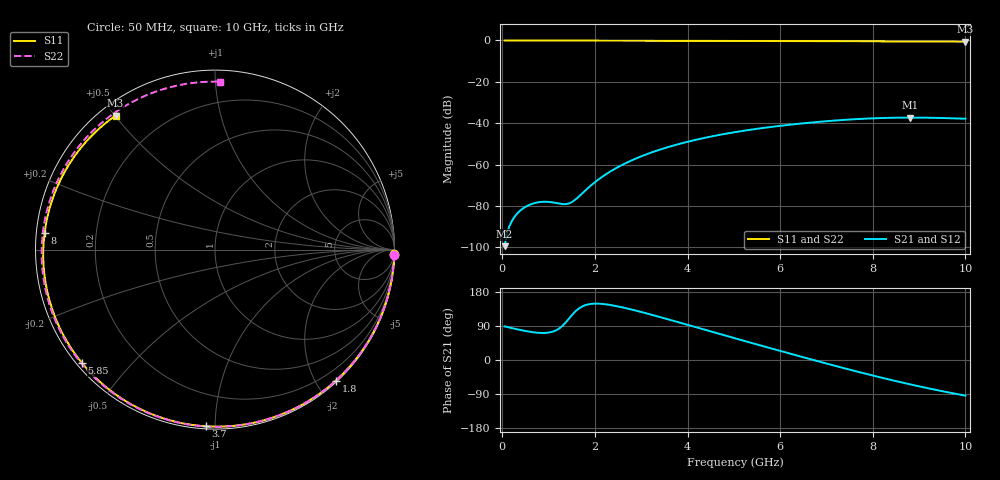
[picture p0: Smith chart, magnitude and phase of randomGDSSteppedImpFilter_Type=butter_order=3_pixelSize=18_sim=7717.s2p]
! freq	dB(S11)	phase(S11)	dB(S12)	phase(S12)
!  dB(S21)	phase(S21)	dB(S22)	phase(S22)
!S-par simulation data
#  GHz  S  DB  R 50
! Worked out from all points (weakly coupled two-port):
!   200 points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, 50 MHz to 10 GHz, reference 50 ohm
!   highest |S21| = -37.29 dB at 8.8 GHz (marker M1); lowest = -99.5 dB at 50 MHz (marker M2)
!   lowest |S11| = -0.6 dB at 10 GHz (marker M3), VSWR 27.48, Z = 2.28 + j25.1 ohm
!   |S11| at or under -10 dB: nowhere
!   |S22| runs from -0.6 to 0.0 dB; largest |S21 - S12| = 0
!   S11 on the Smith chart (normalised r, x): 50 MHz: 0, -85; 1.8 GHz: 0.02, -2.28; 3.7 GHz: 0.01, -0.95; 5.85 GHz: 0.02, -0.37; 8 GHz: 0.02, +0.05; 10 GHz: 0.05, +0.50
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0.05  -0.00 -1.4  -99.46 88.6  -99.46 88.6  -0.00 -1.6
0.5  -0.02 -13.4  -80.47 76.5  -80.47 76.5  -0.02 -16.2
0.9  -0.03 -24.0  -77.98 71.4  -77.98 71.4  -0.04 -28.9
1.4  -0.05 -37.0  -79.03 103.3  -79.03 103.3  -0.06 -44.5
1.55  -0.05 -40.9  -77.42 124.7  -77.42 124.7  -0.06 -49.1
1.75  -0.06 -46.0  -73.44 142.7  -73.44 142.7  -0.07 -55.1
1.8  -0.06 -47.3  -72.40 145.0  -72.40 145.0  -0.07 -56.6
2.15  -0.07 -56.1  -66.02 148.1  -66.02 148.1  -0.08 -67.0
2.5  -0.08 -64.7  -61.20 141.4  -61.20 141.4  -0.10 -77.0
2.9  -0.09 -74.3  -56.94 129.9  -56.94 129.9  -0.11 -88.2
3.4  -0.11 -86.0  -52.81 113.5  -52.81 113.5  -0.13 -101.7
3.7  -0.12 -92.9  -50.77 103.2  -50.77 103.2  -0.14 -109.6
4.35  -0.15 -107.4  -47.18 80.6  -47.18 80.6  -0.17 -126.1
5.05  -0.18 -122.6  -44.24 56.4  -44.24 56.4  -0.20 -143.3
5.85  -0.23 -139.6  -41.68 29.1  -41.68 29.1  -0.25 -162.5
6.7  -0.29 -157.5  -39.62 0.6  -39.62 0.6  -0.31 177.0
7.35  -0.35 -171.3  -38.44 -20.7  -38.44 -20.7  -0.36 160.9
8  -0.41 174.5  -37.65 -41.0  -37.65 -41.0  -0.42 144.2
8.35  -0.44 166.7  -37.41 -51.4  -37.41 -51.4  -0.46 134.9
8.8  -0.49 156.3  -37.29 -64.1  -37.29 -64.1  -0.50 122.7
9.4  -0.56 141.9  -37.44 -79.9  -37.44 -79.9  -0.55 105.8
10  -0.63 126.6  -37.85 -94.1  -37.85 -94.1  -0.58 88.3
